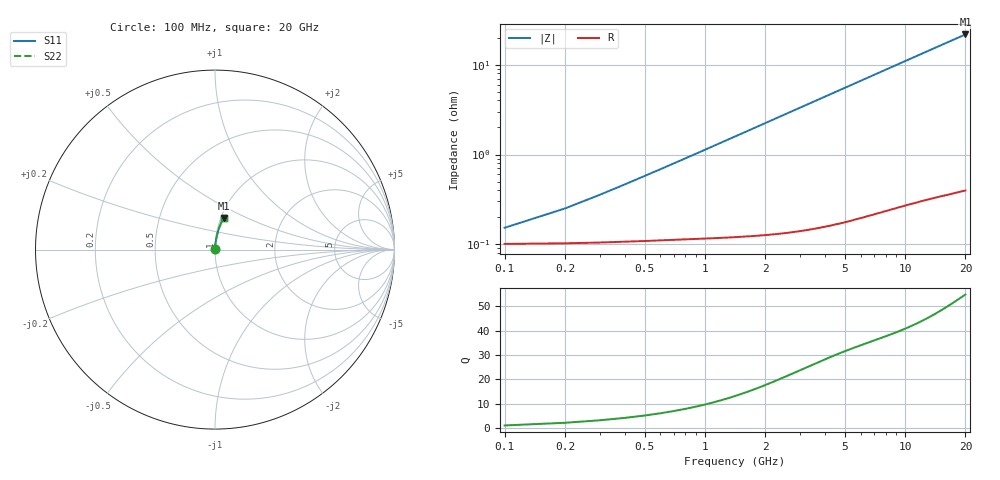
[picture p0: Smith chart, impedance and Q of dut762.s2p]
! Touchstone file exported from HFSS 2026.1.0
!  File:  C:/ffzhzh/LocalFiles/Ansys_Project_Files/temp_train_TMRDL_762_1783155464_55132.aedt
!  Generated:  04:58:55 PM Jul  4, 2026
!  Design:  TMRDL
!  Project:  temp_train_TMRDL_762_1783155464_55132
! Variables:
!  h_bsmrdl = 2um
!  h_ox = 20um
!  h_rdl = 5um
!  h_sub = 80um
!  h_tmrdl = 4.24um
!  h_tsv = 80um
!  h_via = 3um
!  l_bsmrdl = 300um
!  l_sub = 528.92um
!  l_tmrdl = 128.92um
!  m_sub = 200um
!  pitch = 53.75um
!  r_tsv = 6um
!  s_tmrdl = 10um
!  w_bsmrdl = 18um
!  w_sub = 500um
!  w_tmrdl = 12.33um
!  x_tsv_center1 = 135.085um
!  x_tsv_center2 = 453.085um
!  x_tsv_center3 = 594.335um
!  x_tsv_center4 = 912.335um
!  x_tsv_center5 = 1053.585um
!  x_tsv_center6 = 1371.585um
# GHz S MA R 50.000000
! Terminal data exported
! Port[1] = TM_RDL1_1_T1
! Port[2] = TM_RDL1_1_T2
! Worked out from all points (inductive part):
!   200 points, 100 MHz to 20 GHz, reference 50 ohm
!   read as one part in series: L = 181 pH near 300 MHz
!   highest Q = 54.8 at 20 GHz (marker M1), where L = 173 pH
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0.1  0.001414 44.5  0.999 -0.1  0.999 -0.1  0.001414 44.5
! Gamma 0 0 0 0
! Port Impedance 50 0 50 0
0.2  0.002228 62.5  0.999 -0.1  0.999 -0.1  0.002228 62.5
0.3  0.003135 70.3  0.999 -0.2  0.999 -0.2  0.003135 70.3
0.4  0.004067 74.5  0.9989 -0.3  0.9989 -0.3  0.004067 74.5
0.5  0.005008 77.1  0.9989 -0.4  0.9989 -0.4  0.005008 77.1
0.6  0.005953 78.9  0.9989 -0.4  0.9989 -0.4  0.005953 78.9
0.8  0.007849 81.1  0.9988 -0.6  0.9988 -0.6  0.007849 81.1
1.1  0.01071 83.0  0.9988 -0.8  0.9988 -0.8  0.01071 83.0
1.5  0.01452 84.2  0.9987 -1.1  0.9987 -1.1  0.01452 84.2
1.8  0.01739 84.6  0.9986 -1.3  0.9986 -1.3  0.01739 84.6
2.1  0.02026 84.9  0.9985 -1.5  0.9985 -1.5  0.02026 84.9
2.7  0.02599 85.1  0.9983 -2.0  0.9983 -2.0  0.02599 85.1
3.5  0.0336 84.9  0.998 -2.5  0.998 -2.5  0.0336 84.9
4.2  0.04024 84.7  0.9976 -3.0  0.9976 -3.0  0.04024 84.7
5  0.04779 84.3  0.9971 -3.6  0.9971 -3.6  0.04779 84.3
5.9  0.05624 83.8  0.9965 -4.2  0.9965 -4.2  0.05624 83.8
6.8  0.06465 83.2  0.9958 -4.9  0.9958 -4.9  0.06465 83.2
8.3  0.07856 82.3  0.9945 -5.9  0.9945 -5.9  0.07856 82.3
10.1  0.0951 81.2  0.9928 -7.2  0.9928 -7.2  0.0951 81.2
13.4  0.125 79.0  0.989 -9.5  0.989 -9.5  0.125 79.0
16.7  0.1544 76.9  0.9845 -11.8  0.9845 -11.8  0.1544 76.9
20  0.1833 74.7  0.9792 -14.0  0.9792 -14.0  0.1833 74.7
